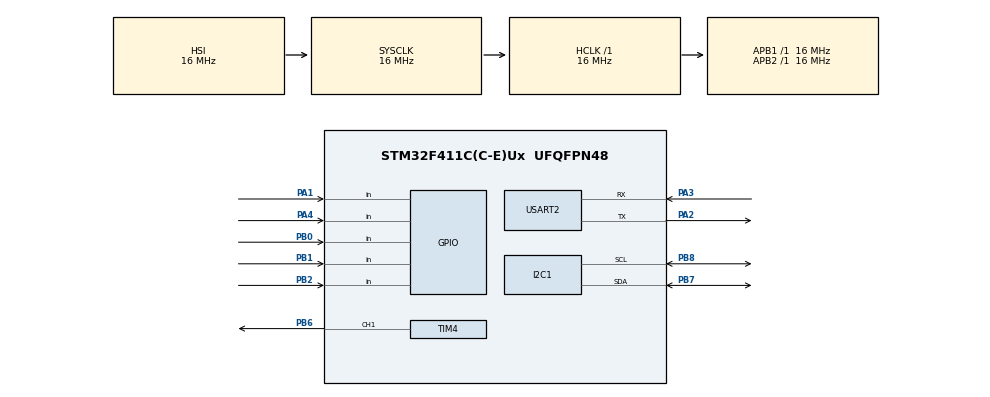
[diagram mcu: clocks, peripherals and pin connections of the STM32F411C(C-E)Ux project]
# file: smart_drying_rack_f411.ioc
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FREERTOS.Tasks01=SensorTask,24,256,StartSensorTask,Default,NULL,Dynamic,NULL,NULL;ControlTask,32,256,StartControlTask,Default,NULL,Dynamic,NULL,NULL;DisplayTask,16,256,StartDisplayTask,Default,NULL,Dynamic,NULL,NULL
Mcu.Family=STM32F4
Mcu.Name=STM32F411C(C-E)Ux
Mcu.Package=UFQFPN48
NVIC.PriorityGroup=NVIC_PRIORITYGROUP_4
NVIC.TIM5_IRQn=true\:15\:0\:false\:false\:true\:false\:false\:true\:true
NVIC.TimeBase=TIM5_IRQn
NVIC.TimeBaseIP=TIM5
PA1.Signal=GPIO_Input
PA2.Mode=Asynchronous
PA2.Signal=USART2_TX
PA3.Mode=Asynchronous
PA3.Signal=USART2_RX
PA4.Signal=GPIO_Input
PB0.Signal=GPIO_Input
PB1.Signal=GPIO_Input
PB2.Signal=GPIO_Input
PB6.Signal=S_TIM4_CH1
PB7.Mode=I2C
PB7.Signal=I2C1_SDA
PB8.Mode=I2C
PB8.Signal=I2C1_SCL
ProjectManager.HeapSize=0x200
ProjectManager.StackSize=0x400
ProjectManager.TargetToolchain=STM32CubeIDE
RCC.AHBFreq_Value=16000000
RCC.APB1Freq_Value=16000000
RCC.APB2Freq_Value=16000000
RCC.CortexFreq_Value=16000000
RCC.HSE_VALUE=25000000
RCC.HSI_VALUE=16000000
RCC.LSE_VALUE=32768
RCC.SYSCLKFreq_VALUE=16000000
RCC.VCOOutputFreq_Value=192000000
SH.S_TIM4_CH1.0=TIM4_CH1,PWM Generation1 CH1
TIM4.Channel-PWM\ Generation1\ CH1=TIM_CHANNEL_1
TIM4.Period=19999
TIM4.Prescaler=15
TIM4.Pulse-PWM\ Generation1\ CH1=1000
USART2.VirtualMode=VM_ASYNC
VP_FREERTOS_VS_CMSIS_V2.Mode=CMSIS_V2
VP_SYS_VS_tim5.Mode=TIM5
VP_TIM4_VS_ClockSourceINT.Mode=Internal
board=custom

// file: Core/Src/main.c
/* USER CODE BEGIN Header */
/**
  ******************************************************************************
  * @file           : main.c
  * @brief          : Main program body
  ******************************************************************************
  * @attention
  *
  * Copyright (c) 2026 STMicroelectronics.
  * All rights reserved.
  *
  * This software is licensed under terms that can be found in the LICENSE file
  * in the root directory of this software component.
  * If no LICENSE file comes with this software, it is provided AS-IS.
  *
  ******************************************************************************
  */
/* USER CODE END Header */
#include "main.h"
#include "cmsis_os.h"

/* USER CODE BEGIN Includes */
#include "sensor.h"
#include "button.h"
#include "servo.h"
#include "lcd.h"
#include "uart.h"
#include "app_types.h"
/* USER CODE END Includes */

I2C_HandleTypeDef hi2c1;

TIM_HandleTypeDef htim4;

UART_HandleTypeDef huart2;

/* Definitions for SensorTask */
osThreadId_t SensorTaskHandle;
const osThreadAttr_t SensorTask_attributes = {
  .name = "SensorTask",
  .stack_size = 256 * 4,
  .priority = (osPriority_t) osPriorityNormal,
};
/* Definitions for ControlTask */
osThreadId_t ControlTaskHandle;
const osThreadAttr_t ControlTask_attributes = {
  .name = "ControlTask",
  .stack_size = 256 * 4,
  .priority = (osPriority_t) osPriorityAboveNormal,
};
/* Definitions for DisplayTask */
osThreadId_t DisplayTaskHandle;
const osThreadAttr_t DisplayTask_attributes = {
  .name = "DisplayTask",
  .stack_size = 256 * 4,
  .priority = (osPriority_t) osPriorityBelowNormal,
};
/* USER CODE BEGIN PV */
osMessageQueueId_t sensorQueueHandle;
osMessageQueueId_t displayQueueHandle;
/* USER CODE END PV */

void SystemClock_Config(void);
static void MX_GPIO_Init(void);
static void MX_TIM4_Init(void);
static void MX_USART2_UART_Init(void);
static void MX_I2C1_Init(void);
void StartSensorTask(void *argument);
void StartControlTask(void *argument);
void StartDisplayTask(void *argument);

int main(void)
{

  /* MCU Configuration--------------------------------------------------------*/

  /* Reset of all peripherals, Initializes the Flash interface and the Systick. */
  HAL_Init();

  /* Configure the system clock */
  SystemClock_Config();

  /* Initialize all configured peripherals */
  MX_GPIO_Init();
  MX_TIM4_Init();
  MX_USART2_UART_Init();
  MX_I2C1_Init();
  /* USER CODE BEGIN 2 */
  Servo_Init();
  LCD_Init();
  /* USER CODE END 2 */

  /* Init scheduler */
  osKernelInitialize();

  /* USER CODE BEGIN RTOS_QUEUES */
  sensorQueueHandle = osMessageQueueNew(
      4U,
      sizeof(InputData),
      NULL
  );

  displayQueueHandle = osMessageQueueNew(
      4U,
      sizeof(SystemState),
      NULL
  );

  if((sensorQueueHandle == NULL) ||
     (displayQueueHandle == NULL))
  {
      Error_Handler();
  }
  /* USER CODE END RTOS_QUEUES */

  /* Create the thread(s) */
  /* creation of SensorTask */
  SensorTaskHandle = osThreadNew(StartSensorTask, NULL, &SensorTask_attributes);

  /* creation of ControlTask */
  ControlTaskHandle = osThreadNew(StartControlTask, NULL, &ControlTask_attributes);

  /* creation of DisplayTask */
  DisplayTaskHandle = osThreadNew(StartDisplayTask, NULL, &DisplayTask_attributes);

  /* Start scheduler */
  osKernelStart();

  /* We should never get here as control is now taken by the scheduler */

  /* Infinite loop */
  while (1)
  {

  }
}

void SystemClock_Config(void)
{
  RCC_OscInitTypeDef RCC_OscInitStruct = {0};
  RCC_ClkInitTypeDef RCC_ClkInitStruct = {0};

  /** Configure the main internal regulator output voltage
  */
  __HAL_RCC_PWR_CLK_ENABLE();
  __HAL_PWR_VOLTAGESCALING_CONFIG(PWR_REGULATOR_VOLTAGE_SCALE1);

  /** Initializes the RCC Oscillators according to the specified parameters
  * in the RCC_OscInitTypeDef structure.
  */
  RCC_OscInitStruct.OscillatorType = RCC_OSCILLATORTYPE_HSI;
  RCC_OscInitStruct.HSIState = RCC_HSI_ON;
  RCC_OscInitStruct.HSICalibrationValue = RCC_HSICALIBRATION_DEFAULT;
  RCC_OscInitStruct.PLL.PLLState = RCC_PLL_NONE;
  if (HAL_RCC_OscConfig(&RCC_OscInitStruct) != HAL_OK)
  {
    Error_Handler();
  }

  /** Initializes the CPU, AHB and APB buses clocks
  */
  RCC_ClkInitStruct.ClockType = RCC_CLOCKTYPE_HCLK|RCC_CLOCKTYPE_SYSCLK
                              |RCC_CLOCKTYPE_PCLK1|RCC_CLOCKTYPE_PCLK2;
  RCC_ClkInitStruct.SYSCLKSource = RCC_SYSCLKSOURCE_HSI;
  RCC_ClkInitStruct.AHBCLKDivider = RCC_SYSCLK_DIV1;
  RCC_ClkInitStruct.APB1CLKDivider = RCC_HCLK_DIV1;
  RCC_ClkInitStruct.APB2CLKDivider = RCC_HCLK_DIV1;

  if (HAL_RCC_ClockConfig(&RCC_ClkInitStruct, FLASH_LATENCY_0) != HAL_OK)
  {
    Error_Handler();
  }
}

static void MX_I2C1_Init(void)
{

  hi2c1.Instance = I2C1;
  hi2c1.Init.ClockSpeed = 100000;
  hi2c1.Init.DutyCycle = I2C_DUTYCYCLE_2;
  hi2c1.Init.OwnAddress1 = 0;
  hi2c1.Init.AddressingMode = I2C_ADDRESSINGMODE_7BIT;
  hi2c1.Init.DualAddressMode = I2C_DUALADDRESS_DISABLE;
  hi2c1.Init.OwnAddress2 = 0;
  hi2c1.Init.GeneralCallMode = I2C_GENERALCALL_DISABLE;
  hi2c1.Init.NoStretchMode = I2C_NOSTRETCH_DISABLE;
  if (HAL_I2C_Init(&hi2c1) != HAL_OK)
  {
    Error_Handler();
  }

}

static void MX_TIM4_Init(void)
{

  TIM_ClockConfigTypeDef sClockSourceConfig = {0};
  TIM_MasterConfigTypeDef sMasterConfig = {0};
  TIM_OC_InitTypeDef sConfigOC = {0};

  htim4.Instance = TIM4;
  htim4.Init.Prescaler = 15;
  htim4.Init.CounterMode = TIM_COUNTERMODE_UP;
  htim4.Init.Period = 19999;
  htim4.Init.ClockDivision = TIM_CLOCKDIVISION_DIV1;
  htim4.Init.AutoReloadPreload = TIM_AUTORELOAD_PRELOAD_DISABLE;
  if (HAL_TIM_Base_Init(&htim4) != HAL_OK)
  {
    Error_Handler();
  }
  sClockSourceConfig.ClockSource = TIM_CLOCKSOURCE_INTERNAL;
  if (HAL_TIM_ConfigClockSource(&htim4, &sClockSourceConfig) != HAL_OK)
  {
    Error_Handler();
  }
  if (HAL_TIM_PWM_Init(&htim4) != HAL_OK)
  {
    Error_Handler();
  }
  sMasterConfig.MasterOutputTrigger = TIM_TRGO_RESET;
  sMasterConfig.MasterSlaveMode = TIM_MASTERSLAVEMODE_DISABLE;
  if (HAL_TIMEx_MasterConfigSynchronization(&htim4, &sMasterConfig) != HAL_OK)
  {
    Error_Handler();
  }
  sConfigOC.OCMode = TIM_OCMODE_PWM1;
  sConfigOC.Pulse = 1000;
  sConfigOC.OCPolarity = TIM_OCPOLARITY_HIGH;
  sConfigOC.OCFastMode = TIM_OCFAST_DISABLE;
  if (HAL_TIM_PWM_ConfigChannel(&htim4, &sConfigOC, TIM_CHANNEL_1) != HAL_OK)
  {
    Error_Handler();
  }
  HAL_TIM_MspPostInit(&htim4);

}

static void MX_USART2_UART_Init(void)
{

  huart2.Instance = USART2;
  huart2.Init.BaudRate = 115200;
  huart2.Init.WordLength = UART_WORDLENGTH_8B;
  huart2.Init.StopBits = UART_STOPBITS_1;
  huart2.Init.Parity = UART_PARITY_NONE;
  huart2.Init.Mode = UART_MODE_TX_RX;
  huart2.Init.HwFlowCtl = UART_HWCONTROL_NONE;
  huart2.Init.OverSampling = UART_OVERSAMPLING_16;
  if (HAL_UART_Init(&huart2) != HAL_OK)
  {
    Error_Handler();
  }

}

static void MX_GPIO_Init(void)
{
  GPIO_InitTypeDef GPIO_InitStruct = {0};

  /* GPIO Ports Clock Enable */
  __HAL_RCC_GPIOA_CLK_ENABLE();
  __HAL_RCC_GPIOB_CLK_ENABLE();

  /*Configure GPIO pins : PA1 PA4 */
  GPIO_InitStruct.Pin = GPIO_PIN_1|GPIO_PIN_4;
  GPIO_InitStruct.Mode = GPIO_MODE_INPUT;
  GPIO_InitStruct.Pull = GPIO_NOPULL;
  HAL_GPIO_Init(GPIOA, &GPIO_InitStruct);

  /*Configure GPIO pins : PB0 PB1 PB2 */
  GPIO_InitStruct.Pin = GPIO_PIN_0|GPIO_PIN_1|GPIO_PIN_2;
  GPIO_InitStruct.Mode = GPIO_MODE_INPUT;
  GPIO_InitStruct.Pull = GPIO_NOPULL;
  HAL_GPIO_Init(GPIOB, &GPIO_InitStruct);

}

void StartSensorTask(void *argument)
{
  /* USER CODE BEGIN 5 */
	InputData input;

	  (void)argument;

	  for(;;)
	  {
	    input.rain = Sensor_IsRaining();
	    input.light = Sensor_IsLight();

	    input.mode_button = Button_Mode();
	    input.manual_in = Button_ManualIn();
	    input.manual_out = Button_ManualOut();

	    if(input.rain)
	    {
	      input.environment = ENV_RAIN;
	    }
	    else if(input.light)
	    {
	      input.environment = ENV_BRIGHT;
	    }
	    else
	    {
	      input.environment = ENV_DARK;
	    }

	    osMessageQueuePut(
	        sensorQueueHandle,
	        &input,
	        0U,
	        0U
	    );

	    osDelay(50U);
	  }
  /* USER CODE END 5 */
}

void StartControlTask(void *argument)
{
  /* USER CODE BEGIN StartControlTask */
	  InputData input;
	  SystemState state;
	  SystemState previous_state;
	  uint8_t first_update = 1;
	  (void)argument;

	  state.mode = MODE_AUTO;
	  state.rack = RACK_IN;
	  state.environment = ENV_DARK;

	  previous_state = state;

	  Servo_SetIn();

	  for(;;)
	  {
	    if(osMessageQueueGet(
	        sensorQueueHandle,
	        &input,
	        NULL,
	        osWaitForever) == osOK)
	    {
	      state.environment = input.environment;

	      if(input.mode_button)
	      {
	        state.mode = MODE_MANUAL;
	      }
	      else
	      {
	        state.mode = MODE_AUTO;
	      }

	      if(state.mode == MODE_AUTO)
	      {
	        if(input.rain)
	        {
	          state.rack = RACK_IN;
	        }
	        else if(input.light)
	        {
	          state.rack = RACK_OUT;
	        }
	        else
	        {
	          state.rack = RACK_IN;
	        }
	      }
	      else
	      {
	        if(input.manual_in)
	        {
	          state.rack = RACK_IN;
	        }
	        else if(input.manual_out)
	        {
	          state.rack = RACK_OUT;
	        }
	      }

	      if(state.rack != previous_state.rack)
	      {
	        if(state.rack == RACK_IN)
	        {
	          Servo_SetIn();
	        }
	        else
	        {
	          Servo_SetOut();
	        }
	      }

	      if(first_update ||
	         (state.mode != previous_state.mode) ||
	         (state.rack != previous_state.rack) ||
	         (state.environment != previous_state.environment))
	      {
	        osMessageQueuePut(
	            displayQueueHandle,
	            &state,
	            0U,
	            0U
	        );

	        previous_state = state;
	        first_update = 0U;
	      }
	    }
	  }
  /* USER CODE END StartControlTask */
}

void StartDisplayTask(void *argument)
{
  /* USER CODE BEGIN StartDisplayTask */
	 SystemState state;

	  (void)argument;

	  UART2_SendString("\r\n");
	  UART2_SendString("============================\r\n");
	  UART2_SendString(" SMART CLOTHES DRYING RACK\r\n");
	  UART2_SendString(" STM32F411 + FREERTOS\r\n");
	  UART2_SendString("============================\r\n");

	  if(osKernelGetState() == osKernelRunning)
	  {
	    UART2_SendString("RTOS KERNEL: RUNNING\r\n");
	  }

	  for(;;)
	  {
	    if(osMessageQueueGet(
	        displayQueueHandle,
	        &state,
	        NULL,
	        osWaitForever) == osOK)
	    {
	      LCD_Update(
	          state.mode,
	          state.rack,
	          state.environment
	      );

	      if(state.mode == MODE_AUTO)
	      {
	        UART2_SendString("MODE: AUTO\r\n");
	      }
	      else
	      {
	        UART2_SendString("MODE: MANUAL\r\n");
	      }

	      if(state.environment == ENV_RAIN)
	      {
	        UART2_SendString("ENVIRONMENT: RAIN\r\n");
	      }
	      else if(state.environment == ENV_BRIGHT)
	      {
	        UART2_SendString("ENVIRONMENT: BRIGHT\r\n");
	      }
	      else
	      {
	        UART2_SendString("ENVIRONMENT: DARK\r\n");
	      }

	      if(state.rack == RACK_IN)
	      {
	        UART2_SendString("RACK: IN\r\n");
	      }
	      else
	      {
	        UART2_SendString("RACK: OUT\r\n");
	      }

	      UART2_SendString("----------------------------\r\n");
	    }
	  }
  /* USER CODE END StartDisplayTask */
}

void HAL_TIM_PeriodElapsedCallback(TIM_HandleTypeDef *htim)
{
  if (htim->Instance == TIM5)
  {
    HAL_IncTick();
  }
}

void Error_Handler(void)
{
  __disable_irq();
  while (1)
  {
  }
}
